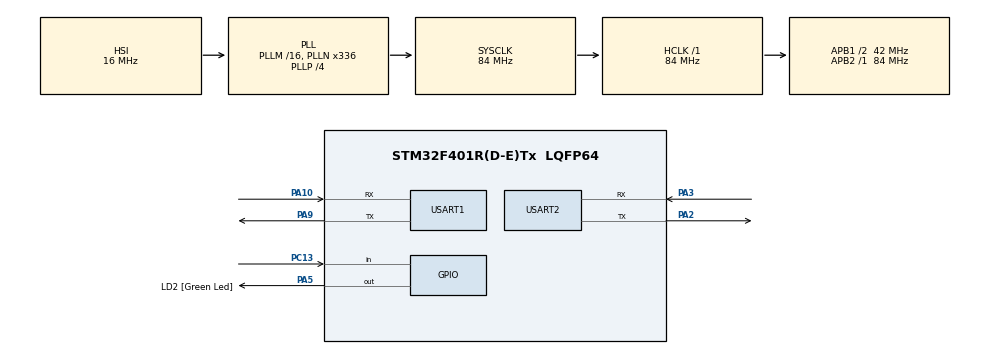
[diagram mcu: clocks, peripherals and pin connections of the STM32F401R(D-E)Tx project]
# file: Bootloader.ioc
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Mcu.Family=STM32F4
Mcu.Name=STM32F401R(D-E)Tx
Mcu.Package=LQFP64
NVIC.PriorityGroup=NVIC_PRIORITYGROUP_0
PA10.Mode=Asynchronous
PA10.Signal=USART1_RX
PA13.GPIO_Label=TMS
PA13.Mode=Serial_Wire
PA13.Signal=SYS_JTMS-SWDIO
PA14.GPIO_Label=TCK
PA14.Mode=Serial_Wire
PA14.Signal=SYS_JTCK-SWCLK
PA2.Mode=Asynchronous
PA2.Signal=USART2_TX
PA3.Mode=Asynchronous
PA3.Signal=USART2_RX
PA5.GPIO_Label=LD2 [Green Led]
PA5.GPIO_Mode=GPIO_MODE_OUTPUT_PP
PA5.GPIO_PuPd=GPIO_NOPULL
PA5.GPIO_Speed=GPIO_SPEED_FREQ_LOW
PA5.Signal=GPIO_Output
PA9.Mode=Asynchronous
PA9.Signal=USART1_TX
PB3.GPIO_Label=SWO
PB3.Signal=SYS_JTDO-SWO
PC13-ANTI_TAMP.Signal=GPIO_Input
PC14-OSC32_IN.Mode=LSE-External-Oscillator
PC14-OSC32_IN.Signal=RCC_OSC32_IN
PC15-OSC32_OUT.Mode=LSE-External-Oscillator
PC15-OSC32_OUT.Signal=RCC_OSC32_OUT
PH0\ -\ OSC_IN.Mode=HSE-External-Clock-Source
PH0\ -\ OSC_IN.Signal=RCC_OSC_IN
PH1\ -\ OSC_OUT.Mode=HSE-External-Clock-Source
PH1\ -\ OSC_OUT.Signal=RCC_OSC_OUT
ProjectManager.HeapSize=0x200
ProjectManager.StackSize=0x400
ProjectManager.TargetToolchain=STM32CubeIDE
RCC.48MHZClocksFreq_Value=48000000
RCC.AHBFreq_Value=84000000
RCC.APB1CLKDivider=RCC_HCLK_DIV2
RCC.APB1Freq_Value=42000000
RCC.APB1TimFreq_Value=84000000
RCC.APB2Freq_Value=84000000
RCC.APB2TimFreq_Value=84000000
RCC.CortexFreq_Value=84000000
RCC.HCLKFreq_Value=84000000
RCC.HSE_VALUE=8000000
RCC.HSI_VALUE=16000000
RCC.PLLN=336
RCC.PLLP=RCC_PLLP_DIV4
RCC.PLLQ=7
RCC.SYSCLKFreq_VALUE=84000000
RCC.SYSCLKSource=RCC_SYSCLKSOURCE_PLLCLK
RCC.VCOOutputFreq_Value=336000000
USART1.VirtualMode=VM_ASYNC
USART2.VirtualMode=VM_ASYNC
board=NUCLEO-F401RE

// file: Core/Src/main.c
/* USER CODE BEGIN Header */
/**
  ******************************************************************************
  * @file           : main.c
  * @brief          : Main program body
  ******************************************************************************
  * @attention
  *
  * Copyright (c) 2023 STMicroelectronics.
  * All rights reserved.
  *
  * This software is licensed under terms that can be found in the LICENSE file
  * in the root directory of this software component.
  * If no LICENSE file comes with this software, it is provided AS-IS.
  *
  ******************************************************************************
  */
/* USER CODE END Header */
#include "main.h"

/* USER CODE BEGIN Includes */
#include <stdio.h>
#include <stdlib.h>
/* USER CODE END Includes */

/* USER CODE BEGIN PTD */
# define version_0 0
# define version_1 1
/* USER CODE END PTD */

/* USER CODE BEGIN PD */
const uint8_t bootloader_version[2] = {version_0,version_1};

/* USER CODE END PD */

UART_HandleTypeDef huart1;
UART_HandleTypeDef huart2;

void SystemClock_Config(void);
static void MX_GPIO_Init(void);
static void MX_USART2_UART_Init(void);
static void MX_USART1_UART_Init(void);
/* USER CODE BEGIN PFP */
void run_application(void);

/* USER CODE END PFP */

/* USER CODE BEGIN 0 */
void run_application(void){

	printf("Jumping to application \r\n");
	uint8_t ch[] = "Jumping to application \r\n";
	HAL_UART_Transmit(&huart1, ch, sizeof(ch), HAL_MAX_DELAY);
	void (*reset_handler_applicaiton)(void) = (void*)(*(volatile uint32_t*)(0X08040000+4));

	HAL_GPIO_WritePin(GPIOA, GPIO_PIN_5, GPIO_PIN_RESET); //turn off led

	reset_handler_applicaiton();

	//set MSP - in STM32 cube - startup file takes care - so not required

}
/* USER CODE END 0 */

int main(void)
{

  /* MCU Configuration--------------------------------------------------------*/

  /* Reset of all peripherals, Initializes the Flash interface and the Systick. */
  HAL_Init();

  /* Configure the system clock */
  SystemClock_Config();

  /* Initialize all configured peripherals */
  MX_GPIO_Init();
  MX_USART2_UART_Init();
  MX_USART1_UART_Init();
  /* USER CODE BEGIN 2 */
  printf("*****Bootloader Started*****\r\n");
  HAL_GPIO_WritePin(GPIOA, GPIO_PIN_5, GPIO_PIN_SET); //turn on led
  HAL_Delay(1000);
  run_application();

  /* USER CODE END 2 */

  /* Infinite loop */
  while (1)
  {

  }
}

void SystemClock_Config(void)
{
  RCC_OscInitTypeDef RCC_OscInitStruct = {0};
  RCC_ClkInitTypeDef RCC_ClkInitStruct = {0};

  /** Configure the main internal regulator output voltage
  */
  __HAL_RCC_PWR_CLK_ENABLE();
  __HAL_PWR_VOLTAGESCALING_CONFIG(PWR_REGULATOR_VOLTAGE_SCALE2);

  /** Initializes the RCC Oscillators according to the specified parameters
  * in the RCC_OscInitTypeDef structure.
  */
  RCC_OscInitStruct.OscillatorType = RCC_OSCILLATORTYPE_HSI;
  RCC_OscInitStruct.HSIState = RCC_HSI_ON;
  RCC_OscInitStruct.HSICalibrationValue = RCC_HSICALIBRATION_DEFAULT;
  RCC_OscInitStruct.PLL.PLLState = RCC_PLL_ON;
  RCC_OscInitStruct.PLL.PLLSource = RCC_PLLSOURCE_HSI;
  RCC_OscInitStruct.PLL.PLLM = 16;
  RCC_OscInitStruct.PLL.PLLN = 336;
  RCC_OscInitStruct.PLL.PLLP = RCC_PLLP_DIV4;
  RCC_OscInitStruct.PLL.PLLQ = 7;
  if (HAL_RCC_OscConfig(&RCC_OscInitStruct) != HAL_OK)
  {
    Error_Handler();
  }

  /** Initializes the CPU, AHB and APB buses clocks
  */
  RCC_ClkInitStruct.ClockType = RCC_CLOCKTYPE_HCLK|RCC_CLOCKTYPE_SYSCLK
                              |RCC_CLOCKTYPE_PCLK1|RCC_CLOCKTYPE_PCLK2;
  RCC_ClkInitStruct.SYSCLKSource = RCC_SYSCLKSOURCE_PLLCLK;
  RCC_ClkInitStruct.AHBCLKDivider = RCC_SYSCLK_DIV1;
  RCC_ClkInitStruct.APB1CLKDivider = RCC_HCLK_DIV2;
  RCC_ClkInitStruct.APB2CLKDivider = RCC_HCLK_DIV1;

  if (HAL_RCC_ClockConfig(&RCC_ClkInitStruct, FLASH_LATENCY_2) != HAL_OK)
  {
    Error_Handler();
  }
}

static void MX_USART1_UART_Init(void)
{

  huart1.Instance = USART1;
  huart1.Init.BaudRate = 115200;
  huart1.Init.WordLength = UART_WORDLENGTH_8B;
  huart1.Init.StopBits = UART_STOPBITS_1;
  huart1.Init.Parity = UART_PARITY_NONE;
  huart1.Init.Mode = UART_MODE_TX_RX;
  huart1.Init.HwFlowCtl = UART_HWCONTROL_NONE;
  huart1.Init.OverSampling = UART_OVERSAMPLING_16;
  if (HAL_UART_Init(&huart1) != HAL_OK)
  {
    Error_Handler();
  }

}

static void MX_USART2_UART_Init(void)
{

  huart2.Instance = USART2;
  huart2.Init.BaudRate = 115200;
  huart2.Init.WordLength = UART_WORDLENGTH_8B;
  huart2.Init.StopBits = UART_STOPBITS_1;
  huart2.Init.Parity = UART_PARITY_NONE;
  huart2.Init.Mode = UART_MODE_TX_RX;
  huart2.Init.HwFlowCtl = UART_HWCONTROL_NONE;
  huart2.Init.OverSampling = UART_OVERSAMPLING_16;
  if (HAL_UART_Init(&huart2) != HAL_OK)
  {
    Error_Handler();
  }

}

static void MX_GPIO_Init(void)
{
  GPIO_InitTypeDef GPIO_InitStruct = {0};

  /* GPIO Ports Clock Enable */
  __HAL_RCC_GPIOC_CLK_ENABLE();
  __HAL_RCC_GPIOH_CLK_ENABLE();
  __HAL_RCC_GPIOA_CLK_ENABLE();
  __HAL_RCC_GPIOB_CLK_ENABLE();

  /*Configure GPIO pin Output Level */
  HAL_GPIO_WritePin(LD2_GPIO_Port, LD2_Pin, GPIO_PIN_RESET);

  /*Configure GPIO pin : PC13 */
  GPIO_InitStruct.Pin = GPIO_PIN_13;
  GPIO_InitStruct.Mode = GPIO_MODE_INPUT;
  GPIO_InitStruct.Pull = GPIO_NOPULL;
  HAL_GPIO_Init(GPIOC, &GPIO_InitStruct);

  /*Configure GPIO pin : LD2_Pin */
  GPIO_InitStruct.Pin = LD2_Pin;
  GPIO_InitStruct.Mode = GPIO_MODE_OUTPUT_PP;
  GPIO_InitStruct.Pull = GPIO_NOPULL;
  GPIO_InitStruct.Speed = GPIO_SPEED_FREQ_LOW;
  HAL_GPIO_Init(LD2_GPIO_Port, &GPIO_InitStruct);

}

/* USER CODE BEGIN 4 */
/*#ifdef __GNUC__
int __io_putchar(int ch)
#else
int fputc(int ch, FILE *f)
#endif
{
	HAL_UART_Transmit(&huart2,(uint8_t *)&ch, 1, HAL_MAX_DELAY);
	return ch;
}

int _write(int file, char *ptr, int len)
{
	HAL_UART_Transmit(&huart2,(uint8_t *)&ptr, len, HAL_MAX_DELAY);
	return(len);
} */
/* USER CODE END 4 */

void Error_Handler(void)
{
  __disable_irq();
  while (1)
  {
  }
}
